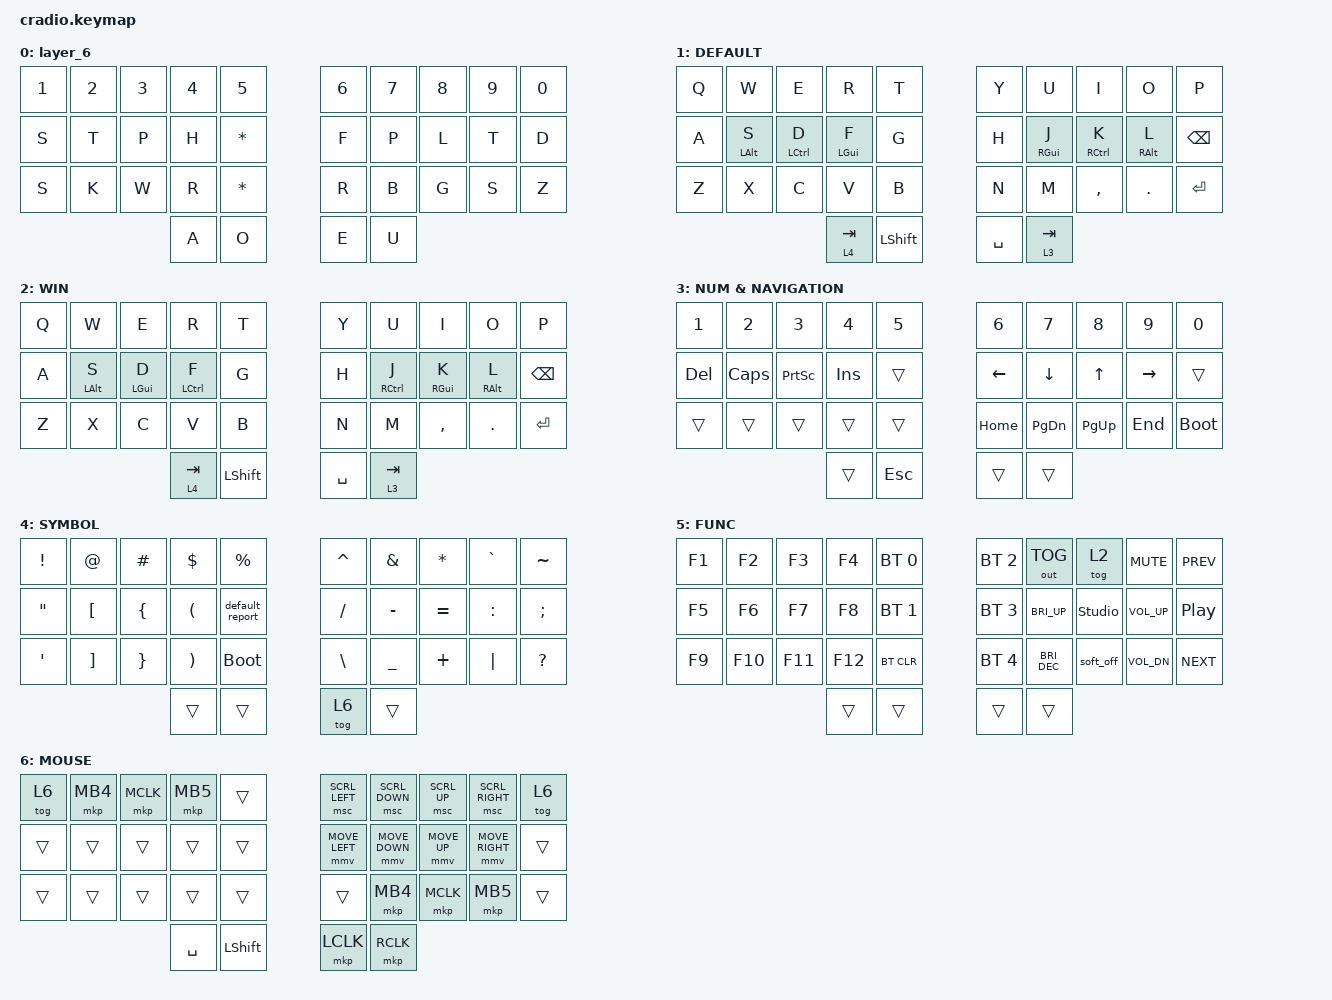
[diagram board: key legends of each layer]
// Copyright (c) 2022 The ZMK Contributors
// SPDX-License-Identifier: MIT

#define ZMK_POINTING_DEFAULT_MOVE_VAL 2500  // 600
#define ZMK_POINTING_DEFAULT_SCRL_VAL 20    // 10

#include <behaviors.dtsi>
#include <dt-bindings/zmk/bt.h>
#include <dt-bindings/zmk/keys.h>
#include <dt-bindings/zmk/outputs.h>
#include <dt-bindings/zmk/pointing.h>

#define MAC 0
#define WIN 1
#define RIG 2
#define LEF 3
#define TRI 4
#define MOUSE 5

// https: //zmk.dev/docs/development/hardware-integration/soft-off-setup?advanced-methods=wakeup&kscan-type=dkscan

/ {
    keys {
        compatible = "gpio-keys";

        soft_off_gpio_key: soft_off_gpio_key { gpios = <&gpio1 6 (GPIO_ACTIVE_LOW | GPIO_PULL_UP)>; };
    };

    wakeup_scan: wakeup_scan {
        compatible = "zmk,kscan-gpio-direct";
        input-keys = <&soft_off_gpio_key>;
        wakeup-source;
    };

    side_band_behavior_triggers: side_band_behavior_triggers {
        compatible = "zmk,kscan-sideband-behaviors";
        kscan = <&wakeup_scan>;
        auto-enable;
        wakeup-source;
    };

    soft_off_wakers {
        compatible = "zmk,soft-off-wakeup-sources";
        wakeup-sources = <&wakeup_scan>;
    };
};

/ {
    chosen { zmk,charmap = &charmap_us; };

    behaviors {
        ht: hold_tap {
            label = "hold_tap";
            compatible = "zmk,behavior-hold-tap";
            #binding-cells = <2>;
            flavor = "balanced";
            tapping-term-ms = <200>;
            quick-tap-ms = <150>;
            global-quick-tap;
            bindings = <&kp>, <&kp>;
        };

        mmv {
            acceleration-exponent = <1>;      // 1
            time-to-max-speed-ms = <300>;    // 40
            delay-ms = <0>;                   // 0
        };

        msc {
            acceleration-exponent = <0>;      // 0
            time-to-max-speed-ms = <40>;      // 500
            delay-ms = <0>;                   // 10
        };
    };

    conditional_layers {
        compatible = "zmk,conditional-layers";

        tri_layer {
            if-layers = <3 4>;
            then-layer = <5>;
        };
    };

    keymap {
        compatible = "zmk,keymap";

        layer_6 {
            bindings = <
&kp N1  &kp N2  &kp N3  &kp N4  &kp N5      &kp N6  &kp N7  &kp N8  &kp N9  &kp N0
&kp S   &kp T   &kp P   &kp H   &kp STAR    &kp F   &kp P   &kp L   &kp T   &kp D
&kp S   &kp K   &kp W   &kp R   &kp STAR    &kp R   &kp B   &kp G   &kp S   &kp Z
                        &kp A   &kp O       &kp E   &kp U
            >;
        };

        default_layer {
            display-name = "DEFAULT";
            bindings = <
&kp Q  &kp W       &kp E        &kp R       &kp T         &kp Y      &kp U       &kp I        &kp O       &kp P
&kp A  &ht LALT S  &ht LCTRL D  &ht LGUI F  &kp G         &kp H      &ht RGUI J  &ht RCTRL K  &ht RALT L  &kp BSPC
&kp Z  &kp X       &kp C        &kp V       &kp B         &kp N      &kp M       &kp COMMA    &kp DOT     &kp ENTER
                                &lt 4 TAB   &kp LSHIFT    &kp SPACE  &lt 3 TAB
            >;
        };

        windows_layer {
            display-name = "WIN";
            bindings = <
&kp Q  &kp W       &kp E       &kp R        &kp T         &kp Y      &kp U        &kp I       &kp O       &kp P
&kp A  &ht LALT S  &ht LGUI D  &ht LCTRL F  &kp G         &kp H      &ht RCTRL J  &ht RGUI K  &ht RALT L  &kp BSPC
&kp Z  &kp X       &kp C       &kp V        &kp B         &kp N      &kp M        &kp COMMA   &kp DOT     &kp ENTER
                               &lt 4 TAB    &kp LSHIFT    &kp SPACE  &lt 3 TAB
            >;
        };

        right_layer {
            display-name = "NUM & NAVIGATION";
            bindings = <
&kp N1   &kp N2    &kp N3     &kp N4   &kp N5     &kp N6    &kp N7     &kp N8     &kp N9     &kp N0
&kp DEL  &kp CAPS  &kp PSCRN  &kp INS  &trans     &kp LEFT  &kp DOWN   &kp UP     &kp RIGHT  &trans
&trans   &trans    &trans     &trans   &trans     &kp HOME  &kp PG_DN  &kp PG_UP  &kp END    &bootloader
                              &trans   &kp ESC    &trans    &trans
            >;
        };

        left_layer {
            display-name = "SYMBOL";
            bindings = <
&kp EXCL  &kp AT    &kp HASH  &kp DLLR  &kp PRCNT          &kp CARET  &kp AMPS   &kp ASTRK  &kp GRAVE  &kp TILDE
&kp DQT   &kp LBKT  &kp LBRC  &kp LPAR  &default_report    &kp FSLH   &kp MINUS  &kp EQUAL  &kp COLON  &kp SEMI
&kp SQT   &kp RBKT  &kp RBRC  &kp RPAR  &bootloader        &kp BSLH   &kp UNDER  &kp PLUS   &kp PIPE   &kp QMARK
                              &trans    &trans             &tog 6     &trans
            >;
        };

        tri_layer {
            display-name = "FUNC";
            bindings = <
&kp F1  &kp F2   &kp F3   &kp F4   &bt BT_SEL 0    &bt BT_SEL 2  &out OUT_TOG   &tog 2          &kp C_MUTE    &kp C_PREV
&kp F5  &kp F6   &kp F7   &kp F8   &bt BT_SEL 1    &bt BT_SEL 3  &kp C_BRI_UP   &studio_unlock  &kp C_VOL_UP  &kp C_PP
&kp F9  &kp F10  &kp F11  &kp F12  &bt BT_CLR      &bt BT_SEL 4  &kp C_BRI_DEC  &soft_off       &kp C_VOL_DN  &kp C_NEXT
                          &trans   &trans          &trans        &trans
            >;
        };

        mouse {
            display-name = "MOUSE";
            bindings = <
&tog 6  &mkp MB4  &mkp MCLK  &mkp MB5   &trans        &msc SCRL_LEFT  &msc SCRL_DOWN  &msc SCRL_UP  &msc SCRL_RIGHT  &tog 6
&trans  &trans    &trans     &trans     &trans        &mmv MOVE_LEFT  &mmv MOVE_DOWN  &mmv MOVE_UP  &mmv MOVE_RIGHT  &trans
&trans  &trans    &trans     &trans     &trans        &trans          &mkp MB4        &mkp MCLK     &mkp MB5         &trans
                             &kp SPACE  &kp LSHIFT    &mkp LCLK       &mkp RCLK
            >;
        };
    };
};
